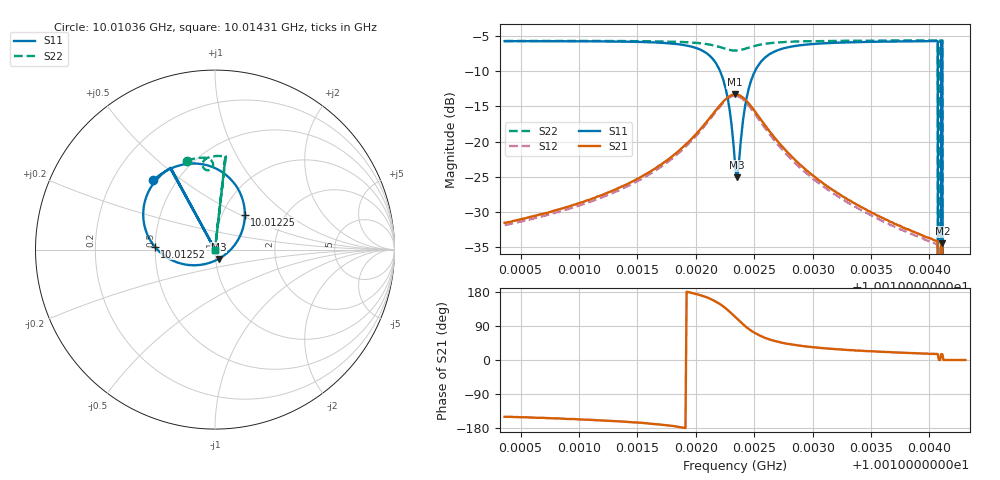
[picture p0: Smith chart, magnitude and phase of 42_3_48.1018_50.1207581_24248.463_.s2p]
#  HZ  S  RI  R  50.00
! Rohde & Schwarz Vector Network Analyzer
! Rohde-Schwarz,ZNB20-2Port,1311601062101988,3.16
! Created: UTC 12/23/2023, 3:38:50 AM
! freq[Hz]  re:S11  im:S11  re:S21  im:S21  re:S12  im:S12  re:S22  im:S22
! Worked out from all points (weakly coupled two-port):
!   401 points, 10.01036 GHz to 10.01431 GHz, reference 50 ohm
!   highest |S21| = -13.28 dB at 10.01234 GHz (marker M1); lowest = -34.5 dB at 10.01411 GHz (marker M2)
!   lowest |S11| = -25.1 dB at 10.01236 GHz (marker M3), VSWR 1.12, Z = 51.8 - j5.39 ohm
!   |S11| at or under -10 dB: 10.01221 GHz to 10.01251 GHz (297.6 kHz wide, 0.00297 % of centre); 10.01407 GHz to 10.0141 GHz (29.14 kHz wide, 0.000291 % of centre); 10.01411 GHz to end of sweep
!   |S22| runs from - to -5.6 dB; largest |S21 - S12| = 0.018
!   S11 on the Smith chart (normalised r, x): 10.01036 GHz: 0.37, +0.40; 10.01225 GHz: 1.28, +0.53; 10.01252 GHz: 0.50, +0.02; 10.01431 GHz: 1.00, +0.00
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1.0010363e10  -0.3433 0.3873  -0.0229 -0.0133  -0.0213 -0.0141  -0.1587 0.4945
1.0011024e10  -0.2866 0.4301  -0.0341 -0.0143  -0.032 -0.0156  -0.1146 0.5068
1.0011685e10  -0.1721 0.4751  -0.0664 -0.0118  -0.063 -0.0148  -0.0627 0.5122
1.0012059e10  0.025 0.4411  -0.1256 0.0243  -0.1234 0.0166  -0.0215 0.4976
1.0012247e10  0.1663 0.1925  -0.1479 0.1299  -0.1506 0.1211  -0.013 0.4591
1.0012286e10  0.1475 0.0943  -0.1299 0.1644  -0.1335 0.1566  -0.0208 0.4487
1.0012335e10  0.0675 -0.0192  -0.0881 0.198  -0.0928 0.1906  -0.0362 0.4421
1.0012355e10  0.0208 -0.0518  -0.068 0.2049  -0.0721 0.1982  -0.0433 0.4422
1.0012434e10  -0.1873 -0.0784  0.012 0.1942  0.00629 0.1882  -0.0646 0.4557
1.0012523e10  -0.336 0.0165  0.0576 0.1457  0.0511 0.1415  -0.0692 0.4784
1.001273e10  -0.399 0.2186  0.0653 0.0677  0.0593 0.0671  -0.0499 0.5066
1.0012996e10  -0.3664 0.3308  0.0481 0.0323  0.0442 0.0329  -0.0233 0.5173
1.0013657e10  -0.288 0.4264  0.0253 0.00967  0.0236 0.0103  0.0287 0.5218
1.0014051e10  -0.252 0.4528  0.0191 0.00536  0.0178 0.0061  0.0562 0.5205
1.0014061e10  -0.2514 0.4533  0.0189 0.00542  0.0176 0.00605  0.057 0.5205
1.0014071e10  -0.2504 0.4539  0.0188 0.0053  0.0175 0.00604  0.0576 0.5206
1.0014091e10  0 0  0 0  0.0173 0.00587  0.0589 0.5203
1.00141e10  -0.2478 0.4556  0.0185 0.00516  0.0172 0.00581  0.0597 0.5202
1.001411e10  -0.247 0.4561  0.0182 0.0049  0.0171 0.00571  0.0603 0.5202
1.001412e10  0 0  0 0  0 0  0 0
1.001414e10  0 0  0 0  0 0  0 0
1.0014307e10  0 0  0 0  0 0  0 0
